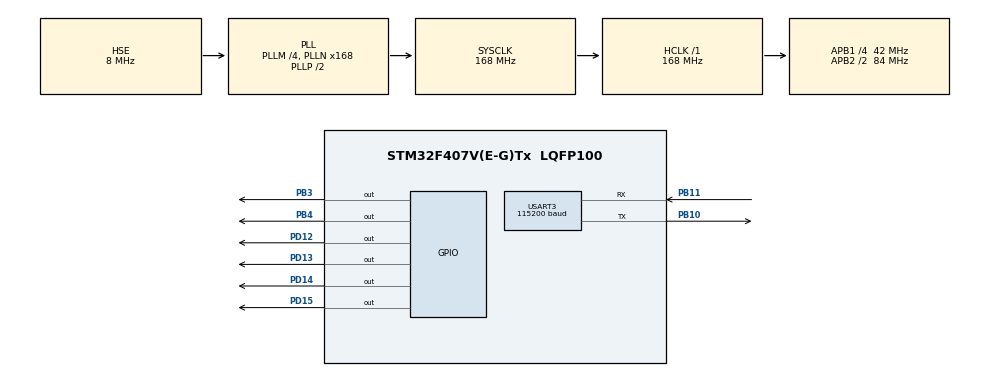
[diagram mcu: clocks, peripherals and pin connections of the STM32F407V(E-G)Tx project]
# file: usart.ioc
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Mcu.Family=STM32F4
Mcu.Name=STM32F407V(E-G)Tx
Mcu.Package=LQFP100
NVIC.PriorityGroup=NVIC_PRIORITYGROUP_4
NVIC.USART3_IRQn=true\:0\:0\:false\:false\:true\:true\:true
PB10.Mode=Asynchronous
PB10.Signal=USART3_TX
PB11.Mode=Asynchronous
PB11.Signal=USART3_RX
PB3.GPIO_PuPd=GPIO_NOPULL
PB3.PinState=GPIO_PIN_SET
PB3.Signal=GPIO_Output
PB4.GPIO_PuPd=GPIO_NOPULL
PB4.PinState=GPIO_PIN_SET
PB4.Signal=GPIO_Output
PD12.Signal=GPIO_Output
PD13.Signal=GPIO_Output
PD14.Signal=GPIO_Output
PD15.Signal=GPIO_Output
PH0-OSC_IN.Mode=HSE-External-Oscillator
PH0-OSC_IN.Signal=RCC_OSC_IN
PH1-OSC_OUT.Mode=HSE-External-Oscillator
PH1-OSC_OUT.Signal=RCC_OSC_OUT
ProjectManager.HeapSize=0x200
ProjectManager.StackSize=0x400
ProjectManager.TargetToolchain=STM32CubeIDE
RCC.48MHZClocksFreq_Value=84000000
RCC.AHBFreq_Value=168000000
RCC.APB1CLKDivider=RCC_HCLK_DIV4
RCC.APB1Freq_Value=42000000
RCC.APB1TimFreq_Value=84000000
RCC.APB2CLKDivider=RCC_HCLK_DIV2
RCC.APB2Freq_Value=84000000
RCC.APB2TimFreq_Value=168000000
RCC.CortexFreq_Value=168000000
RCC.HCLKFreq_Value=168000000
RCC.HSE_VALUE=8000000
RCC.HSI_VALUE=16000000
RCC.LSE_VALUE=32768
RCC.PLLM=4
RCC.PLLN=168
RCC.PLLSourceVirtual=RCC_PLLSOURCE_HSE
RCC.SYSCLKFreq_VALUE=168000000
RCC.SYSCLKSource=RCC_SYSCLKSOURCE_PLLCLK
RCC.VCOOutputFreq_Value=336000000
USART3.BaudRate=115200
USART3.VirtualMode=VM_ASYNC
board=custom

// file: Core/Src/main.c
/* USER CODE BEGIN Header */
/**
  ******************************************************************************
  * @file           : main.c
  * @brief          : Main program body
  ******************************************************************************
  * @attention
  *
  * <h2><center>&copy; Copyright (c) 2020 STMicroelectronics.
  * All rights reserved.</center></h2>
  *
  * This software component is licensed by ST under BSD 3-Clause license,
  * the "License"; You may not use this file except in compliance with the
  * License. You may obtain a copy of the License at:
  *                        opensource.org/licenses/BSD-3-Clause
  *
  ******************************************************************************
  */
/* USER CODE END Header */

#include "main.h"

/* USER CODE BEGIN Includes */
#include <string.h>
#include <stdlib.h>
/* USER CODE END Includes */

/* USER CODE BEGIN PD */
#define VERSION  		"100"
#define OP_INIT  		"00000"
#define OP_LOGIN 		"00001"
#define OP_REGISTER		"00111"
/* USER CODE END PD */

UART_HandleTypeDef huart3;

/* USER CODE BEGIN PV */

uint8_t command[50];
uint16_t comm_size = 0;
char response[4];
uint16_t response_size = 4;
volatile char  msg_buffer[1024];
volatile char esp_recv_buffer[100];
UART_HandleTypeDef * esp_uart = &huart3;
char pattern[] = "+IPD,";
char send_command[] = "AT+CIPSEND=0,4\r\n";
uint16_t init_msg_size = 33;
uint16_t msg_buffer_size = 30;

char header[4];
char bitversion[3];
char bitoperation[5];
char bitid[8];
char bitanswer [4];
char bitmsg_size[10];
char result[5];
char clear_buffer[100];
uint8_t clear =0;
/* USER CODE END PV */

void SystemClock_Config(void);
static void MX_GPIO_Init(void);
static void MX_USART3_UART_Init(void);
/* USER CODE BEGIN PFP */
uint8_t configure_esp();
uint8_t send_at_comm(char *, uint16_t timeout);
void handle_request();
uint8_t check_header()
{

	if(strcmp(bitversion,VERSION))
		return 1;
	do
	{
		if(!strcmp(bitoperation,OP_INIT))
			break;
		else if(!strcmp(bitoperation,OP_LOGIN))
			break;
		else if(!strcmp(bitoperation,OP_REGISTER))
			break;
		else if(!strcmp(bitoperation,OP_INIT))
			break;
		else if(!strcmp(bitoperation,OP_INIT))
			break;
		else if(!strcmp(bitoperation,OP_INIT))
			break;
		else if(!strcmp(bitoperation,OP_INIT))
			break;
		return 1;
	}while(0);

	return 0;
}
uint8_t getbits(char* header)
{
	for(int j=0;j<3;j++)
	{
		if(!!((header[0] << j) & 0x80))
			bitversion[j] = '1';
		else
			bitversion[j] = '0';
	}
	int i=0;
	for(int j=3;j<8;j++)
	{
		if(!!((header[0] << j) & 0x80))
			bitoperation[i] = '1';
		else
			bitoperation[i] = '0';
		i++;
	}
	for(int j=0;j<8;j++)
	{
		if(!!((header[1] << j) & 0x80))
			bitid[j] = '1';
	}
	for(int j=0;j<4;j++)
	{
		if(!!((header[2] << j) & 0x80))
			bitanswer[j] = '1';
		else
			bitanswer[j] = '0';
	}
	i = 0;
	for(int j=4;j<8;j++)
	{
		if(!!((header[2] << j) & 0x80))
			bitmsg_size[i] = '1';
		else
			bitmsg_size[i] = '0';
		i++;
	}
	for(int j=0;j<6;j++)
	{
		if(!!((header[3] << j) & 0x80))
			bitmsg_size[i] = '1';
		else
			bitmsg_size[i] = '0';
		i++;
	}

}
uint16_t count_nm_size()
{
	uint16_t acc =0;
	uint16_t pow=1;
	for(int i=9;i>=0;i--)
	{
		if(bitmsg_size[i]=='1')
		{
			acc = acc + pow;
		}
		pow = pow * 2;
	}

}
void prepare_response()
{
	char firstbyte=0;
	char secondbyte=0;
	char thirdbyte=0;
	char fourthbyte=0;
	for(int i=0;i<3;i++)
	{
		if( bitversion[i]=='1') firstbyte |= 1 << (7-i);
	}
	int i=0;
	for(int j=3;j<8;j++)
	{
		if(bitoperation[i]=='1') firstbyte |= 1 << (7-j);
		i++;
	}
	for(int j=0;j<8;j++)
		if(bitid[j] == '1') secondbyte |= 1 << (7-j);

	for(int j=0;j<4;j++)
		if(bitanswer[j] == '1') thirdbyte |= 1 << (7-j);

	i = 0;

	for(int j=4;j<8;j++)
	{
		if(bitmsg_size[i] == '1') thirdbyte |= 1 << (7-j);
			i++;
	}
	for(int j=0;j<6;j++)
	{
		if(bitmsg_size[i] == '1') fourthbyte |=1 << (7-j);
		i++;
	}
	for(int j=6;j<8;j++)
	{
		fourthbyte |= 1 << (7-j);
	}
	response[0] = firstbyte;
	response[1] = secondbyte;
	response[2] = thirdbyte;
	response[3] = fourthbyte;
}
int check_size()
{
	for(int i=0;i<15;i++)
		if(msg_buffer[i]=='\0')
			return 1;
	return 0;
}
uint16_t process_data()
{

		memcpy(header,msg_buffer+23,4);
		getbits(header);
		//if(!check_header())
		//{

			prepare_response();
			memset(esp_recv_buffer, '\0',100);
			HAL_UART_Transmit(&huart3, send_command,strlen(send_command),100);
			memset(esp_recv_buffer, '\0',100);
			HAL_Delay(200);
			HAL_UART_Transmit(&huart3, response, response_size,100);
			HAL_UART_Transmit(&huart3, "\r\n", 2,100);
			int x =0;
		//}
		//else
		//{

		//}

			memset(msg_buffer, '\0',30);

}
uint8_t configure_esp()
 {

 	HAL_Delay(1000);
 	if(!send_at_comm( "AT+CWMODE=1\r\n",2000))
 		return 0;
 	HAL_Delay(100);
 	if(!send_at_comm( "AT+CIPMUX=1\r\n",2000))
 		return 0;
 	HAL_Delay(100);
 	if(!send_at_comm( "AT+CIPSERVER=1,80\r\n",2000))
 		return 0;
 	HAL_Delay(100);
 	if(!send_at_comm("AT+CWJAP=\"HUAWEI-2.4G-zJ52\",\"q95R2T9c\"",5000))
 	 	 	return 0;
 	 	HAL_Delay(100);
 	 	if(!send_at_comm( "AT+CIPSTATUS\r\n",5000))
 	 	 		return 0;
 	 	 	HAL_Delay(100);

 	return 1;
 }
uint8_t send_at_comm( char * at_command, uint16_t timeout)
{
	HAL_UART_Transmit(&huart3, at_command, strlen(at_command),1000);
	if(timeout>2000)
	{
		HAL_Delay(15000);
		return 1;
	}
	HAL_UART_Receive(&huart3, &esp_recv_buffer, 100,timeout);

	char line[100];
	memset(line, '\0',50);
	uint16_t j=0;
	for(uint16_t i=0;i<1024;i++)
	{
		line[j]=esp_recv_buffer[i];

		if(!strcmp(line,"OK\r\n")||!strcmp(line,"no change\r\n")||!strcmp(line,"STATUS:2\r\n"))
		{
			HAL_GPIO_TogglePin(GPIOD, GPIO_PIN_15);
			HAL_Delay(200);
			HAL_GPIO_TogglePin(GPIOD, GPIO_PIN_15);
			return 1;
		}

		if(!strcmp(line,"ERROR\r\n"))
			return 0;

		if(line[j]=='\n')
		{
			j=0;
			memset(line, '\0',50);
		}

		else
			j++;
	}
	return 0;
}

/* USER CODE END PFP */

int main(void)
{

  /* MCU Configuration--------------------------------------------------------*/

  /* Reset of all peripherals, Initializes the Flash interface and the Systick. */
  HAL_Init();

  /* Configure the system clock */
  SystemClock_Config();

  /* Initialize all configured peripherals */
  MX_GPIO_Init();
  MX_USART3_UART_Init();
  /* USER CODE BEGIN 2 */
  if(configure_esp())
	 HAL_GPIO_TogglePin(GPIOD, GPIO_PIN_15);
 else
	 HAL_GPIO_TogglePin(GPIOD, GPIO_PIN_14);

  /* USER CODE END 2 */

  /* Infinite loop */
  /* USER CODE BEGIN WHILE */
  int x=0;
  while (1)
  {

	  HAL_UART_Receive(&huart3, msg_buffer, msg_buffer_size,200);
	  x =check_size();
	  if(!x)
		  process_data();

    /* USER CODE END WHILE */

  }
}

void SystemClock_Config(void)
{
  RCC_OscInitTypeDef RCC_OscInitStruct = {0};
  RCC_ClkInitTypeDef RCC_ClkInitStruct = {0};

  /** Configure the main internal regulator output voltage
  */
  __HAL_RCC_PWR_CLK_ENABLE();
  __HAL_PWR_VOLTAGESCALING_CONFIG(PWR_REGULATOR_VOLTAGE_SCALE1);
  /** Initializes the CPU, AHB and APB busses clocks
  */
  RCC_OscInitStruct.OscillatorType = RCC_OSCILLATORTYPE_HSE;
  RCC_OscInitStruct.HSEState = RCC_HSE_ON;
  RCC_OscInitStruct.PLL.PLLState = RCC_PLL_ON;
  RCC_OscInitStruct.PLL.PLLSource = RCC_PLLSOURCE_HSE;
  RCC_OscInitStruct.PLL.PLLM = 4;
  RCC_OscInitStruct.PLL.PLLN = 168;
  RCC_OscInitStruct.PLL.PLLP = RCC_PLLP_DIV2;
  RCC_OscInitStruct.PLL.PLLQ = 4;
  if (HAL_RCC_OscConfig(&RCC_OscInitStruct) != HAL_OK)
  {
    Error_Handler();
  }
  /** Initializes the CPU, AHB and APB busses clocks
  */
  RCC_ClkInitStruct.ClockType = RCC_CLOCKTYPE_HCLK|RCC_CLOCKTYPE_SYSCLK
                              |RCC_CLOCKTYPE_PCLK1|RCC_CLOCKTYPE_PCLK2;
  RCC_ClkInitStruct.SYSCLKSource = RCC_SYSCLKSOURCE_PLLCLK;
  RCC_ClkInitStruct.AHBCLKDivider = RCC_SYSCLK_DIV1;
  RCC_ClkInitStruct.APB1CLKDivider = RCC_HCLK_DIV4;
  RCC_ClkInitStruct.APB2CLKDivider = RCC_HCLK_DIV2;

  if (HAL_RCC_ClockConfig(&RCC_ClkInitStruct, FLASH_LATENCY_5) != HAL_OK)
  {
    Error_Handler();
  }
}

static void MX_USART3_UART_Init(void)
{

  huart3.Instance = USART3;
  huart3.Init.BaudRate = 115200;
  huart3.Init.WordLength = UART_WORDLENGTH_8B;
  huart3.Init.StopBits = UART_STOPBITS_1;
  huart3.Init.Parity = UART_PARITY_NONE;
  huart3.Init.Mode = UART_MODE_TX_RX;
  huart3.Init.HwFlowCtl = UART_HWCONTROL_NONE;
  huart3.Init.OverSampling = UART_OVERSAMPLING_16;
  if (HAL_UART_Init(&huart3) != HAL_OK)
  {
    Error_Handler();
  }

}

static void MX_GPIO_Init(void)
{
  GPIO_InitTypeDef GPIO_InitStruct = {0};

  /* GPIO Ports Clock Enable */
  __HAL_RCC_GPIOH_CLK_ENABLE();
  __HAL_RCC_GPIOB_CLK_ENABLE();
  __HAL_RCC_GPIOD_CLK_ENABLE();

  /*Configure GPIO pin Output Level */
  HAL_GPIO_WritePin(GPIOD, GPIO_PIN_12|GPIO_PIN_13|GPIO_PIN_14|GPIO_PIN_15, GPIO_PIN_RESET);

  /*Configure GPIO pin Output Level */
  HAL_GPIO_WritePin(GPIOB, GPIO_PIN_3|GPIO_PIN_4, GPIO_PIN_SET);

  /*Configure GPIO pins : PD12 PD13 PD14 PD15 */
  GPIO_InitStruct.Pin = GPIO_PIN_12|GPIO_PIN_13|GPIO_PIN_14|GPIO_PIN_15;
  GPIO_InitStruct.Mode = GPIO_MODE_OUTPUT_PP;
  GPIO_InitStruct.Pull = GPIO_NOPULL;
  GPIO_InitStruct.Speed = GPIO_SPEED_FREQ_LOW;
  HAL_GPIO_Init(GPIOD, &GPIO_InitStruct);

  /*Configure GPIO pins : PB3 PB4 */
  GPIO_InitStruct.Pin = GPIO_PIN_3|GPIO_PIN_4;
  GPIO_InitStruct.Mode = GPIO_MODE_OUTPUT_PP;
  GPIO_InitStruct.Pull = GPIO_NOPULL;
  GPIO_InitStruct.Speed = GPIO_SPEED_FREQ_LOW;
  HAL_GPIO_Init(GPIOB, &GPIO_InitStruct);

}

void Error_Handler(void)
{
}

/************************ (C) COPYRIGHT STMicroelectronics *****END OF FILE****/
